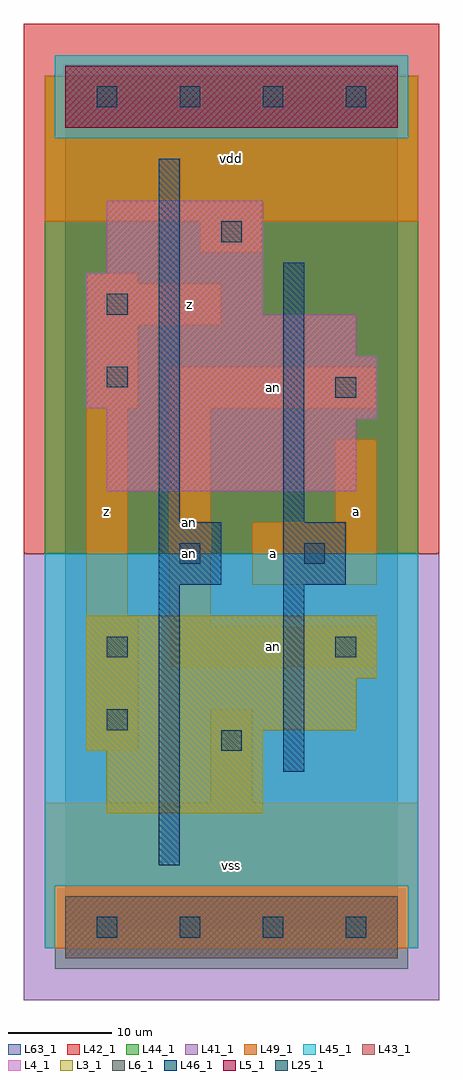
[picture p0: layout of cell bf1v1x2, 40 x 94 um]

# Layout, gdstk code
import gdstk
lib = gdstk.Library(unit=1e-6, precision=1e-09)
def R(c, l, rs):  # rectangles x0, y0, x1, y1
    for r in rs: c.add(gdstk.rectangle(r[:2], r[2:], *l))
def A(c, l, x, y, w, h, nx, ny, dx, dy):  # array of equal rectangles
    R(c, l, [(x+i*dx, y+j*dy, x+i*dx+w, y+j*dy+h) for i in range(nx) for j in range(ny)])
L3_1 = (3, 1)
L4_1 = (4, 1)
L5_1 = (5, 1)
L6_1 = (6, 1)
L25_1 = (25, 1)
L41_1 = (41, 1)
L42_1 = (42, 1)
L43_1 = (43, 1)
L44_1 = (44, 1)
L45_1 = (45, 1)
L46_1 = (46, 1)
L49_1 = (49, 1)
L63_1 = (63, 1)

bf1v1x2 = lib.new_cell('bf1v1x2')
R(bf1v1x2, L3_1, [(4,11,19,17), (2,17,19,19), (2,19,28,24), (2,24,30,30)])
R(bf1v1x2, L4_1, [(4,42,28,49), (4,49,30,50), (2,50,30,55), (2,55,28,59), (2,59,19,63), (4,63,19,70)])
R(bf1v1x2, L5_1, [(0,77,32,83)])
R(bf1v1x2, L6_1, [(0,-3,32,3), (0,-3,32,3)])
A(bf1v1x2, L25_1, 3, -1, 2, 2, 4, 2, 8, 80)
R(bf1v1x2, L25_1, [(15,17,17,19), (4,19,6,21), (4,26,6,28), (26,26,28,28), (11,35,13,37), (23,35,25,37), (26,51,28,53), (4,52,6,54), (4,59,6,61), (15,66,17,68)])
R(bf1v1x2, L41_1, [(-4,-7,36,36)])
R(bf1v1x2, L42_1, [(-4,36,36,87)])
R(bf1v1x2, L43_1, [(0,-3,32,3), (4,11,19,17), (2,17,19,19), (2,19,28,24), (2,24,30,30), (4,42,28,49), (4,49,30,50), (2,50,30,55), (2,55,28,59), (2,59,19,63), (4,63,19,70), (0,77,32,83)])
R(bf1v1x2, L44_1, [(-1,-4,33,4), (-2,36,34,76), (-2,76,-1,82), (33,76,34,82)])
R(bf1v1x2, L45_1, [(-2,-2,-1,4), (33,-2,34,4), (-2,4,34,36), (-1,76,33,84)])
R(bf1v1x2, L46_1, [(9,6,11,33), (21,15,23,33), (9,33,15,39), (21,33,27,39), (9,39,11,74), (21,39,23,64)])
R(bf1v1x2, L49_1, [(-2,-2,34,12), (14,12,18,21), (2,17,7,30), (10,25,30,29), (10,29,14,50), (2,30,6,50), (18,33,30,39), (26,39,30,47), (2,50,7,58), (10,50,30,54), (2,58,15,62), (2,62,7,63), (13,65,19,68), (-2,68,34,82)])
R(bf1v1x2, L63_1, [(0,0,32,80)])
bf1v1x2.add(gdstk.Label('an', (12,36), layer=49, texttype=1))
bf1v1x2.add(gdstk.Label('z', (4,40), layer=49, texttype=1))
bf1v1x2.add(gdstk.Label('an', (12,39), layer=49, texttype=1))
bf1v1x2.add(gdstk.Label('z', (12,60), layer=49, texttype=1))
bf1v1x2.add(gdstk.Label('vss', (16,6), layer=49, texttype=1))
bf1v1x2.add(gdstk.Label('a', (20,36), layer=49, texttype=1))
bf1v1x2.add(gdstk.Label('vdd', (16,74), layer=49, texttype=1))
bf1v1x2.add(gdstk.Label('an', (20,27), layer=49, texttype=1))
bf1v1x2.add(gdstk.Label('a', (28,40), layer=49, texttype=1))
bf1v1x2.add(gdstk.Label('an', (20,52), layer=49, texttype=1))

lib.write_gds('bf1v1x2.gds')
